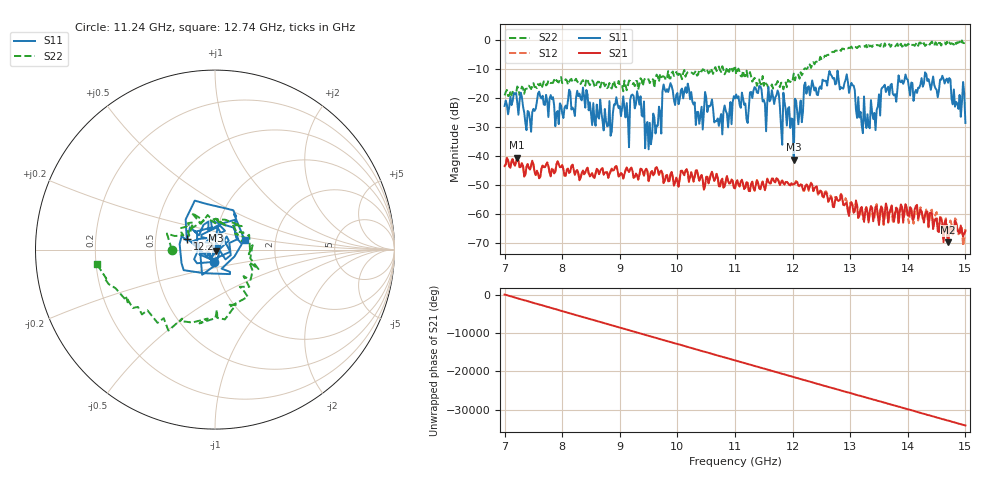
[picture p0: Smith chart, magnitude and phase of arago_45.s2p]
! 4/11/2025 3:33:35 PM
! C:\ANRITSUVNA\LELEC2350\LAB1_2025\GROUP1_45.S2P
! CHANNEL.1
! TR.MEASUREMENT
! CORRECTED.DATA
! RF.CORRECTION: FULL.TWO.PORT.CAL.PORT.1.2
! AVERAGING.OFF
! IF.BANDWIDTH: 300HZ
! SWEEPTYPE:  FREQ.SWEEP(Linear)
! Reference Plane Port Info
! PORT:  PORT1  PORT2
! DISTANCE:  0  m  0  m
! TIME:  0  s  0  s
! PHASE.OFFSET:  0 °  0 °
! LOSS:  0  dB  0  dB
! REF.LOSS:  0  dB  0  dB
! REF.FREQ:  0  Hz  0  Hz
! Power Info
! POWER:  5  dBm  5  dBm
! EFF.POWER:  5  dBm  5  dBm
# GHZ S RI R 50.0
! FREQ.GHZ  S11RE  S11IM  S21RE  S21IM  S12RE  S12IM  S22RE  S22IM
!; PortSelection: Port_12
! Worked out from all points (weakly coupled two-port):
!   401 points, 7 GHz to 15 GHz, reference 50 ohm
!   highest |S21| = -40.57 dB at 7.22 GHz (marker M1); lowest = -69.9 dB at 14.7 GHz (marker M2)
!   lowest |S11| = -41.3 dB at 12.02 GHz (marker M3), VSWR 1.02, Z = 50.7 - j0.531 ohm
!   |S11| at or under -10 dB: start of sweep to end of sweep
!   |S22| runs from -19.3 to 0.0 dB; largest |S21 - S12| = 0.00038
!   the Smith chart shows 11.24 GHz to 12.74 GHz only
!   S11 on the Smith chart (normalised r, x): 11.24 GHz: 0.98, -0.13; 12.2 GHz: 0.73, +0.09; 12.74 GHz: 1.38, +0.15
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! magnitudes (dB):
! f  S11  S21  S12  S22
! 7 GHz  -22.7  -43.5  -43.5  -19.0
! 7.22 GHz  -21.5  -40.6  -40.6  -16.0
! 7.42 GHz  -24.8  -44.3  -44.1  -15.7
! 7.62 GHz  -19.5  -47.2  -47.2  -14.9
! 7.9 GHz  -25.1  -43.0  -42.8  -13.7
! 8.34 GHz  -20.8  -45.9  -45.9  -14.2
! 8.82 GHz  -21.0  -46.4  -46.2  -14.8
! 9.22 GHz  -18.7  -45.2  -45.2  -15.1
! 9.68 GHz  -22.9  -46.5  -46.7  -14.3
! 9.86 GHz  -16.3  -48.7  -48.6  -13.1
! 10.74 GHz  -27.2  -50.6  -50.7  -10.3
! 11 GHz  -20.1  -51.3  -51.3  -8.8
! 11.24 GHz  -23.3  -52.2  -52.0  -12.4
! 11.42 GHz  -15.8  -51.1  -51.3  -13.5
! 12.02 GHz  -41.3  -49.7  -49.9  -11.5
! 12.2 GHz  -15.7  -51.9  -52.1  -9.9
! 12.34 GHz  -13.9  -49.9  -49.9  -8.4
! 12.74 GHz  -15.2  -55.1  -54.2  -3.5
! 13.3 GHz  -25.6  -59.5  -59.6  -2.7
! 13.68 GHz  -18.9  -59.7  -60.8  -1.3
! 14.7 GHz  -14.7  -69.9  -70.5  -1.4
! 15 GHz  -28.6  -66.1  -65.3  -0.8
